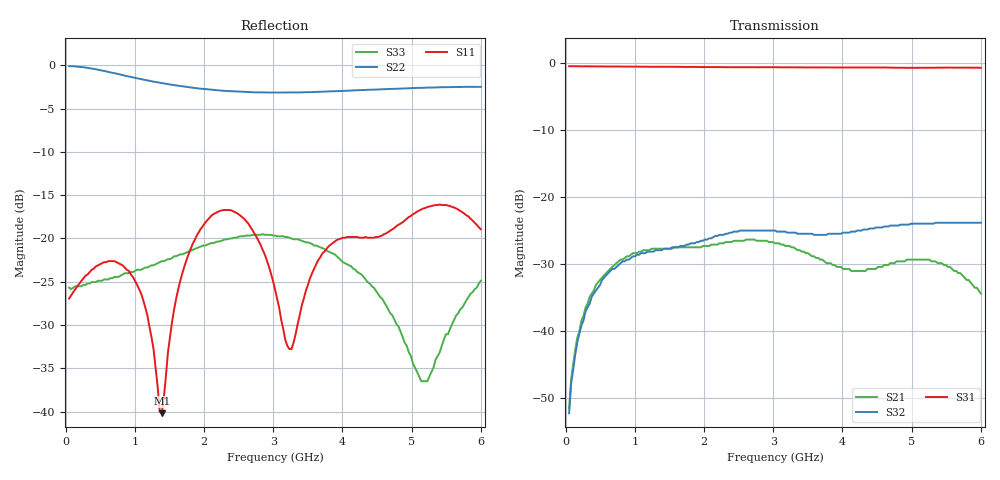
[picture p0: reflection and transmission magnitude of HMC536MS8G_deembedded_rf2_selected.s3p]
!Hittite Microwave Corporation
!20 Alpha Road
!Chelmsford, MA 01824
!Tel: 978-250-3343
!Fax: 978-250-3373
!Device: HMC536MS8G, DC-6 GHz, GaAs MMIC Positive Control T/R Switch in 8 lead MSOP8G SMT package with exposed ground paddle
!Misc: Vctl = 5V, Port1 = RFC, Port2 = RF1, Port3 = RF2, RF2 ON, Room
# MHZ S MA R 50
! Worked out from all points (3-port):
!   201 points, 50 MHz to 6 GHz, reference 50 ohm
!   strongest paths, dB at 50 MHz, 1.538 GHz, 3.025 GHz, 4.513 GHz, 6 GHz:
!     S31: -0.5, -0.6, -0.7, -0.7, -0.8
!     S32: -52.3, -27.5, -25.0, -24.6, -23.9
!     S21: -51.6, -27.7, -26.9, -30.5, -34.4
!   lowest |S11| = -40.2 dB at 1.389 GHz (marker M1), VSWR 1.02, Z = 51 + j0.105 ohm
!   |S11| at or under -10 dB: start of sweep to end of sweep
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50  0.045 5.1  0.002642 93.7  0.94 -1.9
    0.002645 94.2  0.987 -6.6  0.002437 93.9
    0.94 -1.9  0.002434 93.2  0.052 -1.5
615.25  0.074 -13.9  0.028 40.6  0.934 -21.1
        0.028 40.6  0.916 -73.4  0.027 47.8
        0.935 -21.1  0.027 47.8  0.058 -8.2
1091.25  0.048 -50.9  0.039 8.2  0.932 -37.0
         0.039 8.2  0.832 -118.7  0.038 20.7
         0.932 -37.0  0.038 20.7  0.066 -12.8
1388.75  0.009789 6.0  0.041 -8.0  0.931 -47.0
         0.041 -8.0  0.789 -142.9  0.04 8.6
         0.931 -47.0  0.04 8.6  0.074 -15.0
2102.75  0.135 6.3  0.044 -34.1  0.925 -70.9
         0.044 -34.1  0.723 166.4  0.049 -11.2
         0.926 -70.9  0.049 -11.3  0.094 -24.6
3025  0.051 -110.6  0.045 -76.9  0.923 -101.7
      0.045 -76.9  0.696 111.5  0.056 -47.1
      0.924 -101.7  0.056 -47.0  0.104 -52.9
3263  0.023 149.8  0.042 -87.8  0.921 -109.7
      0.042 -87.7  0.697 99.1  0.054 -54.0
      0.922 -109.7  0.054 -53.9  0.1 -63.0
3798.5  0.09 28.8  0.032 -103.2  0.919 -127.7
        0.032 -103.2  0.707 73.7  0.053 -64.2
        0.919 -127.7  0.053 -64.1  0.084 -89.1
5137.25  0.147 157.0  0.034 -126.1  0.914 -173.8
         0.034 -126.1  0.741 19.4  0.063 -95.9
         0.914 -173.8  0.063 -95.8  0.015 152.6
6000  0.113 26.7  0.019 -154.4  0.914 155.0
      0.019 -154.5  0.75 -8.3  0.064 -115.5
      0.914 154.9  0.064 -115.5  0.057 60.9
